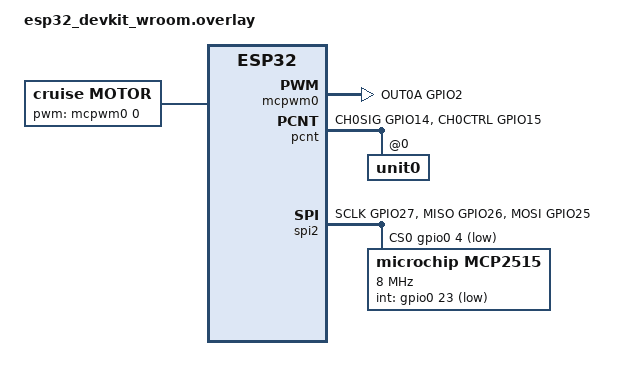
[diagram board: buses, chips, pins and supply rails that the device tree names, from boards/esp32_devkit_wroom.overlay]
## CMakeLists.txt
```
cmake_minimum_required(VERSION 3.20.0)

set(BOARD esp32_devkitc_wroom)
set(DTO_DIR ${CMAKE_CURRENT_SOURCE_DIR}/boards)
set(DTC_OVERLAY_FILE ${DTO_DIR}/esp32_devkit_wroom.overlay)
find_package(Zephyr REQUIRED HINTS $ENV{ZEPHYR_BASE})

project(cruise_control)

target_sources(app PRIVATE 
    src/control/motor.c
    src/control/pid.c
    src/control/moving_avg.c
    src/control/encoder.c
    src/can/can.c
    src/main.c
)
```

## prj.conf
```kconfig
#Old esp32 chip
CONFIG_ESP32_USE_UNSUPPORTED_REVISION=y

#Printk
CONFIG_STDOUT_CONSOLE=y

#Motor PWM control
CONFIG_GPIO=y
CONFIG_PWM=y


CONFIG_FPU=y
CONFIG_SENSOR=y

#CAN in SPI BUS
CONFIG_CAN=y
CONFIG_SPI=y

#Assert
CONFIG_ASSERT=y
```

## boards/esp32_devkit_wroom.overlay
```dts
/{

    motor: motor{
        compatible = "cruise,motor";
        pwms = <&mcpwm0 0 0 PWM_POLARITY_NORMAL>;

        motor_pins: pins {
            gpios = <&gpio0 5 GPIO_ACTIVE_HIGH>,
                    <&gpio0 18 	GPIO_ACTIVE_HIGH>;
            label = "motor_pins";
        };

    };
    chosen{
        zephyr,canbus = &mcp2515;
    };

    aliases {
        qdec0 = &pcnt;
    };

};

&pinctrl {
    mcpwm0_default: mcpwm0_default {
        group1 {
            pinmux = <MCPWM0_OUT0A_GPIO2>;
            input-enable;
        };
    };

    pcnt_default: pcnt_default {
        group1 {
            pinmux = <PCNT0_CH0SIG_GPIO14>,
                     <PCNT0_CH0CTRL_GPIO15>;
            bias-pull-up;
        };
    };
};


&mcpwm0 {
    pinctrl-0 = <&mcpwm0_default>;
    pinctrl-names = "default";
    prescale = <3>;
    prescale-timer0 = <3>;
    status = "okay";
};


&pcnt {
    pinctrl-0 = <&pcnt_default>;
    pinctrl-names = "default";
    status = "okay";
    #address-cells = <1>;
    #size-cells = <0>;
    unit0@0 {
        reg = <0>;
        #address-cells = <1>;
        #size-cells = <0>;
        //filter = <100>;
        channelA@0 {
            reg = <0>;
            sig-pos-mode = <2>;
            sig-neg-mode = <1>;
            ctrl-h-mode = <0>;
            ctrl-l-mode = <1>;
        };
    };
};

&pinctrl {
    spi2_default:spi2_default{
        group1{
            pinmux = <SPIM2_SCLK_GPIO27>,
                     <SPIM2_MISO_GPIO26>,
                     <SPIM2_MOSI_GPIO25>;
        };
    };
};


&spi2 {
    status = "okay";
    pinctrl-0 = <&spi2_default>;
    cs-gpios = <&gpio0 4 GPIO_ACTIVE_LOW>;

    mcp2515: can@0  {
        compatible = "microchip,mcp2515";
        osc-freq = <8000000>;
        spi-max-frequency = <8000000>;
        int-gpios = <&gpio0 23 GPIO_ACTIVE_LOW>;
        sample-point = <875>;
        reg = <0x0>;
        tja1050{
            min-bitrate = <40000>;
            max-bitrate = <1000000>;
        };
    };

};
```

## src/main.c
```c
#include <zephyr/kernel.h>
#include <zephyr/sys/printk.h>
#include <zephyr/device.h>
#include "control/motor.h"
#include <stdlib.h>
#include "pid.h"
#include "can/can.h"
#include "control/encoder.h"

static const struct device *can_dev = DEVICE_DT_GET(DT_CHOSEN(zephyr_canbus));

K_MSGQ_DEFINE(can_rx_queue, q_msg_rx_size, 3, 1);
K_MSGQ_DEFINE(can_tx_queue, sizeof(struct control_info), 3, 1);
K_MSGQ_DEFINE(encoder_rpm_queue, q_msg_rpm_size, 3, 1);

int main(void)
{
    // init services
    init_motor();
    init_encoder_read();
    init_pid_controller();
    init_can(can_dev);

    uint16_t target = 0;
    uint16_t rpm = 0;
    struct control_info motor_data = {0};

    while (1)
    {
        // Read for incoming control values from CAN bus
        if (k_msgq_get(&can_rx_queue, &target, K_NO_WAIT) == 0)
        {
            set_pid_target_rpm(target);
        }
        // Read for current rpm value from encoder thread
        // Send rpm value to PID thread (This will be a test to select a msg queue or a shared memory block between encoder and PID)
        if (k_msgq_get(&encoder_rpm_queue, &rpm, K_NO_WAIT) == 0)
        {
            set_pid_current_rpm(rpm);
        }
        // Read for incoming control infos to be send through CAN bus
        if (k_msgq_get(&can_tx_queue, &motor_data, K_NO_WAIT) == 0)
        {
            send_motor_info_frame(can_dev, &motor_data);
        }

        k_sleep(K_MSEC(5));
    }

    return 0;
}
```
